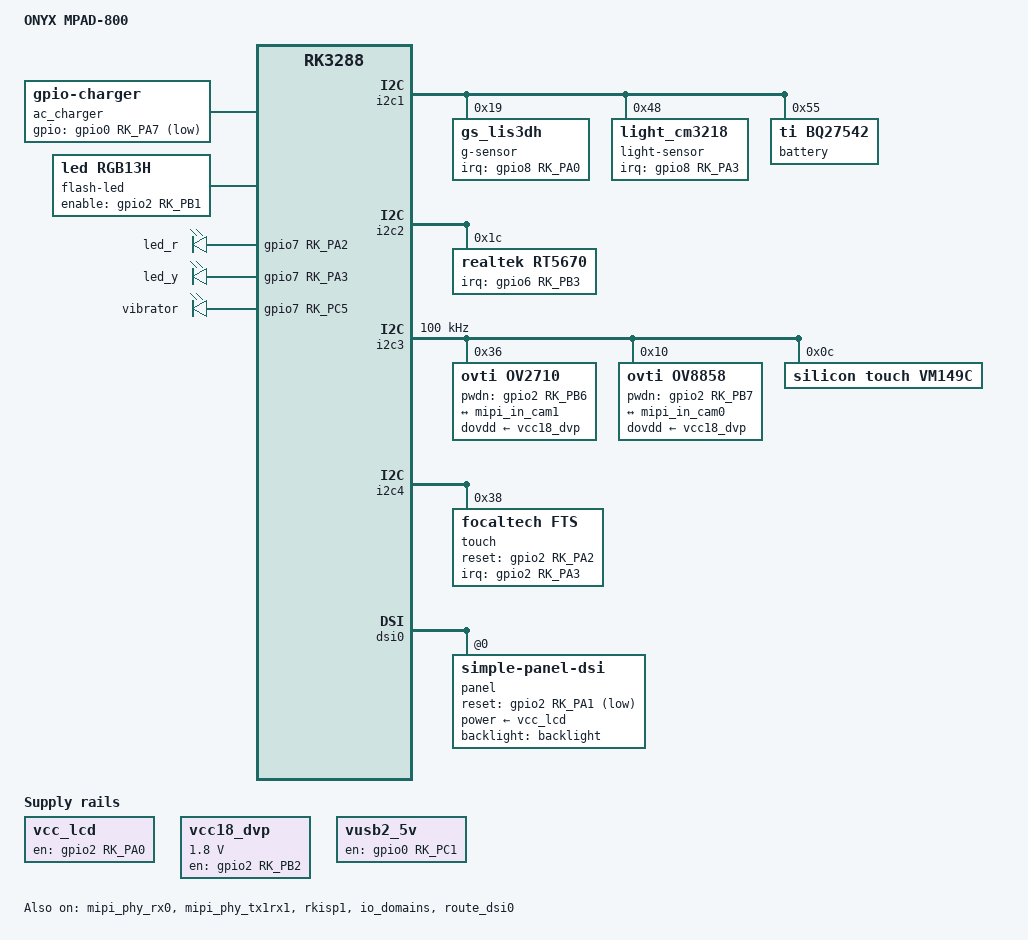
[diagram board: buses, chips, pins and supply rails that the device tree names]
/*
 * Copyright (c) 2020 Onyx Healthcare Inc.
 *
 * SPDX-License-Identifier: GPL-2.0
 */

/dts-v1/;
#include "rk3288-evb-android-rk808-edp.dtsi"

/delete-node/ &cif_isp0;
/delete-node/ &isp;
/delete-node/ &vcc_wl;
/delete-node/ &vcc_lcd;

/ {
	model = "ONYX MPAD-800";
	compatible = "rockchip,rk3288-evb-android-rk808-edp", "rockchip,rk3288";
	chosen: chosen {
		bootargs = "earlycon=uart8250,mmio32,0xff690000 vmalloc=496M swiotlb=1 console=ttyFIQ0 androidboot.baseband=N/A androidboot.veritymode=enforcing androidboot.hardware=rk30board androidboot.console=ttyFIQ0 init=/init kpti=0 snd_soc_rt5670.quirk=0x040C";
	};

	ac_charger: ac-charger {
		compatible = "gpio-charger";
		charger-type = "mains";
		gpios = <&gpio0 RK_PA7 GPIO_ACTIVE_LOW>;
		pinctrl-names = "default";
		pinctrl-0 = <&ac_present_ap>;
	};

	flash_led: flash-rgb13h {
		compatible = "led,rgb13h";
		label = "flash-led";
		led-max-microamp = <294000>;
		flash-max-microamp = <294000>;
		flash-max-timeout-us = <1000000>;
		enable-gpios = <&gpio2 RK_PB1 GPIO_ACTIVE_HIGH>;
		rockchip,camera-module-index = <0>;
		rockchip,camera-module-facing = "back";
	};

	leds {
		compatible = "gpio-leds";
		ind-ledr {
			label = "led_r"; // IND_LEDR
			gpios = <&gpio7 RK_PA2 GPIO_ACTIVE_HIGH>;
			linux,default-trigger = "ac-charger-online";
//			linux,default-trigger = "bq27542-0-charging";
		};

		ind-ledy {
			label = "led_y"; // IND_LEDY
			gpios = <&gpio7 RK_PA3 GPIO_ACTIVE_HIGH>;
			linux,default-trigger = "mmc2";
		};

		vibrator {
			label = "vibrator"; // VIB_CTL
			gpios = <&gpio7 RK_PC5 GPIO_ACTIVE_HIGH>;
			linux,default-trigger = "transient";
			default-state = "off";
		};
	};

	panel {
		status = "disabled";
	};

	vcc_lcd: vcc-lcd {
		compatible = "regulator-fixed";
		regulator-name = "vcc_lcd";
		gpio = <&gpio2 RK_PA0 GPIO_ACTIVE_HIGH>;
		startup-delay-us = <20000>;
		enable-active-high;
		regulator-boot-on;
	};

	vcc18_dvp: vcc18-dvp {
		compatible = "regulator-fixed";
		regulator-name = "vcc18_dvp";
		regulator-min-microvolt = <1800000>;
		regulator-max-microvolt = <1800000>;
		gpio = <&gpio2 RK_PB2 GPIO_ACTIVE_HIGH>; // DVP_PWR
		startup-delay-us = <5000>;
		enable-active-high;
//		vin-supply = <&vcc_io>;
	};

	vusb2_5v: vusb2-5v {
		compatible = "regulator-fixed";
		enable-active-high;
		gpio = <&gpio0 RK_PC1 GPIO_ACTIVE_HIGH>; /* USBA_EN */
		pinctrl-names = "default";
		pinctrl-0 = <&usba_en>;
		regulator-name = "vusb2_5v";
		regulator-always-on;
	};

	wireless-wlan {
		wifi_chip_type = "ap6255";
	};
};

&gmac {
	status = "disabled";
};

&i2c1 {
	/delete-node/ ak8963-compass@0d;
	/delete-node/ mpu-acc@68;
	/delete-node/ mpu-gyro@68;

	g-sensor@19 {
		status = "okay";
		compatible = "gs_lis3dh";
		reg = <0x19>;
		type = <SENSOR_TYPE_ACCEL>;
		irq-gpio = <&gpio8 RK_PA0 IRQ_TYPE_LEVEL_LOW>;
		irq_enable = <1>;
		poll_delay_ms = <30>;
		layout = <6>;
	};

	light-sensor@48 {
		status = "okay";
		compatible = "light_cm3218";
		pinctrl-names = "default";
		pinctrl-0 = <&cm3218_irq_gpio>;
		reg = <0x48>;
		type = <SENSOR_TYPE_LIGHT>;
		irq-gpio = <&gpio8 RK_PA3 IRQ_TYPE_LEVEL_HIGH>;
		irq_enable = <1>;
		poll_delay_ms = <30>;
	};

	battery: battery@55 {
		status = "okay";
		compatible = "ti,bq27542";
		reg = <0x55>;
		power-supplies = <&ac_charger>;
	};
};

&i2c2 {
	/delete-node/ rt5640@1c;

	rt5670: rt5670@1c {
		#sound-dai-cells = <0>;
		compatible = "realtek,rt5670";
		reg = <0x1c>;
		clocks = <&cru SCLK_I2S0_OUT>;
		clock-names = "mclk";
		interrupt-parent = <&gpio6>;
		interrupts = <RK_PB3 IRQ_TYPE_EDGE_FALLING>;
		pinctrl-names = "default";
		pinctrl-0 = <&i2s0_mclk>;
	};
};

&i2c3 {
	status = "okay";
	clock-frequency = <100000>;

	ov2710: ov2710@36 {
		compatible = "ovti,ov2710";
		reg = <0x36>;
		clocks = <&cru SCLK_VIP_OUT>;
		clock-names = "xvclk";
		dovdd-supply = <&vcc18_dvp>;
//		power-gpios = <&gpio2 RK_PB2 GPIO_ACTIVE_HIGH>;
		pwdn-gpios = <&gpio2 RK_PB6 GPIO_ACTIVE_HIGH>;
//		reset-gpios = <&gpio2 RK_PA5 GPIO_ACTIVE_LOW>;
		rockchip,camera-module-index = <1>;
		rockchip,camera-module-facing = "front";
		rockchip,camera-module-name = "default";
		rockchip,camera-module-lens-name = "default";
		port {
			ov2710_out: endpoint {
				remote-endpoint = <&mipi_in_cam1>;
				data-lanes = <1>;
			};
		};
	};

	ov8858: ov8858@10 {
		compatible = "ovti,ov8858";
		reg = <0x10>;
		clocks = <&cru SCLK_VIP_OUT>;
		clock-names = "xvclk";
		/* avdd-supply = <>; */
		/* dvdd-supply = <>; */
		dovdd-supply = <&vcc18_dvp>;
		pinctrl-names = "rockchip,camera_default";
		pinctrl-0 = <&isp_mipi>;
//		power-gpios = <&gpio2 RK_PB2 GPIO_ACTIVE_HIGH>;
		pwdn-gpios = <&gpio2 RK_PB7 GPIO_ACTIVE_HIGH>;
//		reset-gpios = <&gpio2 RK_PA6 GPIO_ACTIVE_HIGH>;
		rockchip,camera-module-index = <0>;
		rockchip,camera-module-facing = "back";
		rockchip,camera-module-name = "COB910";
		rockchip,camera-module-lens-name = "B800BA-E_V1.0";
		lens-focus = <&vm149c>;
		flash-leds = <&flash_led>;
		port {
			ov8858_out: endpoint {
				remote-endpoint = <&mipi_in_cam0>;
				data-lanes = <1 2>;
			};
		};
	};

	vm149c: vm149c@0c {
		compatible = "silicon touch,vm149c";
		status = "okay";
		reg = <0x0c>;
		rockchip,camera-module-index = <0>;
		rockchip,camera-module-facing = "back";
		rockchip,vcm-start-current = <15>;
		rockchip,vcm-rated-current = <85>;
		rockchip,vcm-step-mode = <144>;
	};
};

&mipi_phy_rx0 {
	status = "okay";

	ports {
		#address-cells = <1>;
		#size-cells = <0>;

		port@0 {
			reg = <0>;
			#address-cells = <1>;
			#size-cells = <0>;

			mipi_in_cam0: endpoint@1 {
				reg = <1>;
				remote-endpoint = <&ov8858_out>;
				data-lanes = <1 2>;
			};
		};

		port@1 {
			reg = <1>;
			#address-cells = <1>;
			#size-cells = <0>;

			dphy_rx_out: endpoint@0 {
				reg = <0>;
				remote-endpoint = <&isp_mipi0_in>;
			};
		};
	};
};

&mipi_phy_tx1rx1 {
	status = "okay";

	ports {
		#address-cells = <1>;
		#size-cells = <0>;

		port@0 {
			reg = <0>;
			#address-cells = <1>;
			#size-cells = <0>;

			mipi_in_cam1: endpoint@1 {
				reg = <1>;
				remote-endpoint = <&ov2710_out>;
				data-lanes = <1>;
			};
		};

		port@1 {
			reg = <1>;
			#address-cells = <1>;
			#size-cells = <0>;

			dphy_tx1rx1_out: endpoint@0 {
				reg = <0>;
				remote-endpoint = <&isp_mipi1_in>;
			};
		};
	};
};

&rkisp1 {
	status = "okay";
	port {
		#address-cells = <1>;
		#size-cells = <0>;

		isp_mipi0_in: endpoint@0 {
			reg = <0>;
			remote-endpoint = <&dphy_rx_out>;
		};

		isp_mipi1_in: endpoint@1 {
			reg = <1>;
			remote-endpoint = <&dphy_tx1rx1_out>;
		};
	};
};

&i2c4 {
	/delete-node/ gsl3673@40;

	touch@38 {
		compatible = "focaltech,fts";
		status = "okay";
		reg = <0x38>;
		focaltech,reset-gpio = <&gpio2 RK_PA2 GPIO_ACTIVE_HIGH>;
		focaltech,irq-gpio = <&gpio2 RK_PA3 IRQ_TYPE_EDGE_FALLING>;
		focaltech,max-touch-number = <5>;
		focaltech,display-coords = <0 0 800 1280>;
		pinctrl-names = "default";
		pinctrl-0 = <&fts_irq_gpio>;
	};
};

&io_domains {
	status = "okay";

	audio-supply = <&vcc_18>;
	dvp-supply = <&vio_1v8>;
	flash0-supply = <&vcc_io>;
	flash1-supply = <&vio_1v8>;
	lcdc-supply = <&vcc_io>;
	wifi-supply = <&vcc_18>;
};

&isp_mmu {
	status = "okay";
};

&backlight {
	/delete-property/ enable-gpios;
	pwms = <&pwm0 0 25000 0>;
};

&dsi0 {
	status = "okay";
	panel@0 {
		compatible = "simple-panel-dsi";
		reg = <0>;
		backlight = <&backlight>;
		power-supply = <&vcc_lcd>;
		reset-gpios = <&gpio2 RK_PA1 GPIO_ACTIVE_LOW>;
		pinctrl-0 = <&lcd_rst>;
		prepare-delay-ms = <100>;
		enable-delay-ms = <120>;
		reset-delay-ms = <20>;
		init-delay-ms = <20>;

		dsi,flags = <(MIPI_DSI_MODE_VIDEO | MIPI_DSI_MODE_VIDEO_BURST |
			     MIPI_DSI_MODE_LPM | MIPI_DSI_MODE_EOT_PACKET)>;
		dsi,format = <MIPI_DSI_FMT_RGB888>;
		dsi,lanes = <4>;

		panel-init-sequence = [
			39 00 04 b9 ff 83 94
			39 00 05 d9 00 8b 02 07
			39 00 03 ba 73 83
			39 00 10 b1 6c 15 15 24 e4 11 f1 80 e8 de 23 80 c0 d2 58
			39 00 0b b2 00 64 10 07 20 1c 08 08 1c 4d
			39 00 0d b4 00 ff 03 5a 03 5a 03 5a 01 6a 01 6a
			39 00 03 b6 40 40
			15 00 02 cc 01
			39 00 1f d3 00 06 00 40 1a 08 00 32 10 07 00 07 54 15 0f 05 04 02 12 10 05 07 33 33 0b 0b 37 10 07 07
			39 00 2d d5 19 19 18 18 1a 1a 1b 1b 04 05 06 07 00 01 02 03 20 21 18 18 18 18 18 18 18 18 18 18 18 18 22 23 18 18 18 18 18 18 18 18 18 18 18 18
			39 00 2d d6 18 18 19 19 1a 1a 1b 1b 03 02 01 00 07 06 05 04 23 22 18 18 18 18 18 18 18 18 18 18 18 18 21 20 18 18 18 18 18 18 18 18 18 18 18 18
			39 00 2b e0 00 06 0c 31 34 3f 1d 41 06 0a 0c 17 0f 12 15 13 14 07 12 15 16 00 06 0b 30 34 3f 1f 40 07 0a 0d 18 0e 12 14 12 14 08 13 14 19
			15 00 02 cc 09
			15 00 02 d2 55
			39 00 03 c0 30 14
			39 00 04 bf 41 0e 01
			39 00 05 c7 00 c0 40 c0
			15 00 02 df 8e
			05 00 01 11
			05 08 01 29
		];

		display-timings {
			native-mode = <&timing_dsi>;

			timing_dsi: timing_dsi {
				clock-frequency = <67000000>;
				hactive = <800>;
				vactive = <1280>;
				hback-porch = <18>;
				hfront-porch = <18>;
				vback-porch = <16>;
				vfront-porch = <6>;
				hsync-len = <18>;
				vsync-len = <4>;
				hsync-active = <0>;
				vsync-active = <0>;
				de-active = <0>;
				pixelclk-active = <0>;
			};
		};
	};
};

&route_dsi0 {
	status = "okay";
};

&edp {
	status = "disabled";
};

&route_edp {
	status = "disabled";
};

&hdmi {
	status = "disabled";
};

&route_hdmi {
	status = "disabled";
};

&vopb {
	status = "disabled";
};

&vopl {
	assigned-clocks = <&cru DCLK_VOP1>;
	assigned-clock-parents = <&cru PLL_CPLL>;
};

&rk808 {
	vcc7-supply = <&vcc_sys>;
	vcc9-supply = <&vcc_sys>;
	vcc10-supply = <&vcc_sys>;
	vcc11-supply = <&vcc_sys>;

	regulators {
		DCDC_REG1 {
			regulator-min-microvolt = <700000>;
			regulator-max-microvolt = <1500000>;
			regulator-state-mem {
				regulator-suspend-microvolt = <900000>;
			};

		};

		DCDC_REG2 {
			regulator-min-microvolt = <700000>;
			regulator-max-microvolt = <1500000>;
			regulator-state-mem {
				regulator-suspend-microvolt = <900000>;
			};
		};

		LDO_REG1 {
			regulator-min-microvolt = <2800000>;
			regulator-max-microvolt = <2800000>;
			regulator-state-mem {
				regulator-suspend-microvolt = <2800000>;
			};
		};

		vio_1v8: LDO_REG4 {
			regulator-always-on;
			regulator-boot-on;
			regulator-min-microvolt = <1800000>;
			regulator-max-microvolt = <1800000>;
			regulator-name = "vio_1v8";
			regulator-state-mem {
				regulator-off-in-suspend;
				regulator-suspend-microvolt = <1800000>;
			};
		};

		LDO_REG5 {
			regulator-min-microvolt = <3300000>;
		};

		LDO_REG6 {
			regulator-state-mem {
				regulator-suspend-microvolt = <1000000>;
			};
		};

		LDO_REG8 {
			/delete-node/ regulator-always-on;
			/delete-node/ regulator-boot-on;
			regulator-state-mem {
				regulator-suspend-microvolt = <1800000>;
			};
		};

		SWITCH_REG1 {
			regulator-min-microvolt = <3300000>;
			regulator-max-microvolt = <3300000>;
			regulator-state-mem {
				regulator-suspend-microvolt = <3300000>;
			};
		};

		vcc_gps: SWITCH_REG2 {
			regulator-always-on;
			regulator-boot-on;
			regulator-min-microvolt = <3300000>;
			regulator-max-microvolt = <3300000>;
			regulator-name = "vcc_gps";
			regulator-state-mem {
				regulator-off-in-suspend;
			};
		};
	};
};

&pinctrl {
	/delete-node/ ak8963;
	/delete-node/ mpu6050;

	camera {
		dvp_pwr: dvp-pwr {
			rockchip,pins = <2 RK_PB2 RK_FUNC_GPIO &pcfg_pull_none>;
		};
	};

	charger {
		ac_present_ap: ac-present-ap {
			rockchip,pins = <0 RK_PA7 RK_FUNC_GPIO &pcfg_pull_up>;
		};
	};

	cm3218 {
		cm3218_irq_gpio: cm3218-irq-gpio {
			rockchip,pins = <8 RK_PA3 RK_FUNC_GPIO &pcfg_pull_up>;
		};
	};

	fts {
		fts_irq_gpio: fts-irq-gpio {
			rockchip,pins = <2 RK_PA3 RK_FUNC_GPIO &pcfg_pull_none>;
		};
	};

	i2c3 {
		i2c3-xfer {
			rockchip,pins = <2 17 RK_FUNC_1 &pcfg_pull_up>,
					<2 16 RK_FUNC_1 &pcfg_pull_up>;
		};
	};

	lcd {
		lcd_rst: lcd-rst {
			rockchip,pins = <2 RK_PA1 RK_FUNC_GPIO &pcfg_pull_none>;
		};
	};

	usb {
		usba_en: usba-en {
			rockchip,pins = <0 RK_PC1 RK_FUNC_GPIO &pcfg_pull_none>;
		};
	};
};

&sound {
	simple-audio-card,name = "realtek,rt5670-codec";
	simple-audio-card,routing =
		"IN1P", "Microphone Jack",
		"IN1N", "Microphone Jack",
		"Microphone Jack", "MICBIAS2",
		"Headphone Jack", "HPOL",
		"Headphone Jack", "HPOR";

	simple-audio-card,dai-link@0 {
		codec {
			sound-dai = <&rt5670>;
		};
	};

	/delete-node/ simple-audio-card,dai-link@1;
};
